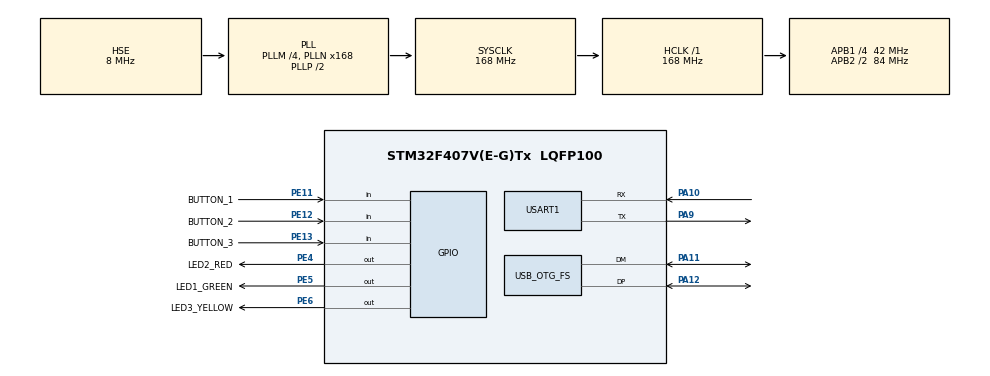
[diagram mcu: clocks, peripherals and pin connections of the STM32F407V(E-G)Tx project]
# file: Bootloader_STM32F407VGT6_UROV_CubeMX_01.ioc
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Mcu.Family=STM32F4
Mcu.Name=STM32F407V(E-G)Tx
Mcu.Package=LQFP100
NVIC.OTG_FS_IRQn=true\:0\:0\:false\:false\:true\:false\:true
NVIC.PriorityGroup=NVIC_PRIORITYGROUP_4
PA10.Mode=Asynchronous
PA10.Signal=USART1_RX
PA11.Mode=Host_Only
PA11.Signal=USB_OTG_FS_DM
PA12.Mode=Host_Only
PA12.Signal=USB_OTG_FS_DP
PA9.Mode=Asynchronous
PA9.Signal=USART1_TX
PE11.GPIO_Label=BUTTON_1
PE11.GPIO_PuPd=GPIO_PULLUP
PE11.Signal=GPIO_Input
PE12.GPIO_Label=BUTTON_2
PE12.GPIO_PuPd=GPIO_PULLUP
PE12.Signal=GPIO_Input
PE13.GPIO_Label=BUTTON_3
PE13.GPIO_PuPd=GPIO_PULLUP
PE13.Signal=GPIO_Input
PE4.GPIO_Label=LED2_RED
PE4.Signal=GPIO_Output
PE5.GPIO_Label=LED1_GREEN
PE5.Signal=GPIO_Output
PE6.GPIO_Label=LED3_YELLOW
PE6.Signal=GPIO_Output
PH0-OSC_IN.Mode=HSE-External-Oscillator
PH0-OSC_IN.Signal=RCC_OSC_IN
PH1-OSC_OUT.Mode=HSE-External-Oscillator
PH1-OSC_OUT.Signal=RCC_OSC_OUT
ProjectManager.HeapSize=0x400
ProjectManager.StackSize=0x400
ProjectManager.TargetToolchain=MDK-ARM V5.27
RCC.48MHZClocksFreq_Value=48000000
RCC.AHBFreq_Value=168000000
RCC.APB1CLKDivider=RCC_HCLK_DIV4
RCC.APB1Freq_Value=42000000
RCC.APB1TimFreq_Value=84000000
RCC.APB2CLKDivider=RCC_HCLK_DIV2
RCC.APB2Freq_Value=84000000
RCC.APB2TimFreq_Value=168000000
RCC.CortexFreq_Value=168000000
RCC.HCLKFreq_Value=168000000
RCC.HSE_VALUE=8000000
RCC.HSI_VALUE=16000000
RCC.LSE_VALUE=32768
RCC.PLLM=4
RCC.PLLN=168
RCC.PLLQ=7
RCC.SYSCLKFreq_VALUE=168000000
RCC.SYSCLKSource=RCC_SYSCLKSOURCE_PLLCLK
RCC.VCOOutputFreq_Value=336000000
USART1.VirtualMode=VM_ASYNC
USB_HOST.USBH_DEBUG_LEVEL-MSC_FS=2
USB_HOST.USBH_HandleTypeDef-MSC_FS=hUsbHostFS
USB_HOST.VirtualModeFS=Msc
USB_OTG_FS.VirtualMode=Host_Only
USB_OTG_FS.phy_itface=HCD_PHY_EMBEDDED
VP_FATFS_VS_USB.Mode=USB
VP_USB_HOST_VS_USB_HOST_MSC_FS.Mode=MSC_FS
board=custom

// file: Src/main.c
/* USER CODE BEGIN Header */
/**
  ******************************************************************************
  * @file           : main.c
  * @brief          : Main program body
  ******************************************************************************
  * @attention
  *
  * <h2><center>&copy; Copyright (c) 2020 STMicroelectronics.
  * All rights reserved.</center></h2>
  *
  * This software component is licensed by ST under Ultimate Liberty license
  * SLA0044, the "License"; You may not use this file except in compliance with
  * the License. You may obtain a copy of the License at:
  *                             www.st.com/SLA0044
  *
  ******************************************************************************
  */
/* USER CODE END Header */
#include "main.h"
#include "fatfs.h"
#include "usb_host.h"

/* USER CODE BEGIN Includes */

#include "stdint.h"   // устанавливает типы переменных типа int8_t и.т.д.
#include "string.h"   // Работа со строками
#include <stdlib.h>   // объявляет четыре типа, несколько функций общего назначения,и определяет несколько макросов.
#include <stdio.h>    // объявляет два типа, несколько макросов и множество функций для выполнение ввода и вывода.

/* USER CODE END Includes */

/* USER CODE BEGIN PTD */

/* Вывод строки в КОМ порт  */
	#ifdef __GNUC__
  /* With GCC, small printf (option LD Linker->Libraries->Small printf
     set to 'Yes') calls __io_putchar() */
  #define PUTCHAR_PROTOTYPE int __io_putchar(int ch)
#else
  #define PUTCHAR_PROTOTYPE int fputc(int ch, FILE *f)
#endif /* __GNUC__ */

/* USER CODE END PTD */

/* USER CODE BEGIN PM */

extern ApplicationTypeDef Appli_state;          // Переменная для определения состояния USB порта.
extern USBH_HandleTypeDef hUsbHostFS;
FATFS USBH_fatfs;
FIL MyFile; /* File object for upload operation */
FIL MyFileR;  /* File object for download operation */
extern DIR dir;
extern FILINFO fno;
char USBDISKPath[4];

#define DEMO_INIT       ((uint8_t)0x00)
#define DEMO_IAP        ((uint8_t)0x01)

__IO uint32_t UploadCondition = 0x00;

static uint8_t Demo_State = DEMO_INIT;
extern USBH_HandleTypeDef hUsbHostFS;

uint32_t JumpAddress;
pFunction Jump_To_Application;

static void COMMAND_ProgramFlashMemory(void);
static void IAP_UploadTimeout(void);
static void USBH_USR_BufferSizeControl(void);

/* USER CODE END PM */

UART_HandleTypeDef huart1;

/* USER CODE BEGIN PV */

#define BUFFER_SIZE        ((uint16_t)512*64)

#define UPLOAD_FILENAME      "0:UPLOAD_u.BIN"
static uint32_t TmpReadSize = 0x00;
static uint32_t RamAddress  = 0x00;
static __IO uint32_t LastPGAddress = APPLICATION_ADDRESS;
static uint8_t RAM_Buf[BUFFER_SIZE] = {0x00};
char DOWNLOAD_FILENAME[15];           // Переменная для хранения имени загружаемого bin файла

/* USER CODE END PV */

void SystemClock_Config(void);
static void MX_GPIO_Init(void);
static void MX_USART1_UART_Init(void);
void MX_USB_HOST_Process(void);

int main(void)
{
  /* USER CODE BEGIN 1 */

  FLASH_If_FlashUnlock();
	BSP_PB_Init(BUTTON_KEY1, BUTTON_MODE_GPIO);
	BSP_PB_Init(BUTTON_KEY2, BUTTON_MODE_GPIO);
	BSP_PB_Init(BUTTON_KEY3, BUTTON_MODE_GPIO);

	if (BSP_PB_GetState(BUTTON_KEY1) == GPIO_PIN_RESET)
	{
		sprintf(DOWNLOAD_FILENAME,"0:%s","image_u1.bin");
	}
	else if(BSP_PB_GetState(BUTTON_KEY2) == GPIO_PIN_RESET)
	{
		sprintf(DOWNLOAD_FILENAME,"0:%s","image_u2.bin");
	}
	else if(BSP_PB_GetState(BUTTON_KEY3) == GPIO_PIN_RESET)
	{
		sprintf(DOWNLOAD_FILENAME,"0:%s","image_u3.bin");
	}
	else
  {
    /* Check Vector Table: Test if user code is programmed starting from address
    "APPLICATION_ADDRESS" */
    if ((((*(__IO uint32_t*)APPLICATION_ADDRESS) & 0xFF000000 ) == 0x20000000) || \
      (((*(__IO uint32_t*)APPLICATION_ADDRESS) & 0xFF000000 ) == 0x10000000))
    {
      /* Jump to user application */
      JumpAddress = *(__IO uint32_t*) (APPLICATION_ADDRESS + 4);
      Jump_To_Application = (pFunction) JumpAddress;
      /* Initialize user application's Stack Pointer */
      __set_MSP(*(__IO uint32_t*) APPLICATION_ADDRESS);
      Jump_To_Application();
    }
  }

  /* USER CODE END 1 */

  /* MCU Configuration--------------------------------------------------------*/

  /* Reset of all peripherals, Initializes the Flash interface and the Systick. */
  HAL_Init();

  /* Configure the system clock */
  SystemClock_Config();

  /* Initialize all configured peripherals */
  MX_GPIO_Init();
  MX_USART1_UART_Init();
  MX_FATFS_Init();
  MX_USB_HOST_Init();
  /* USER CODE BEGIN 2 */

  printf("\n\r UART Printf Example: retarget the C library printf function to the UART\n\r");
	BSP_LED_Off(LED1);
	BSP_LED_Off(LED2);
	BSP_LED_Off(LED3);

  /* USER CODE END 2 */

  /* Infinite loop */
  while (1)
  {
    MX_USB_HOST_Process();

    /* USER CODE BEGIN 3 */
		FW_UPGRADE_Process();
  }
  /* USER CODE END 3 */
}

void SystemClock_Config(void)
{
  RCC_OscInitTypeDef RCC_OscInitStruct = {0};
  RCC_ClkInitTypeDef RCC_ClkInitStruct = {0};

  /** Configure the main internal regulator output voltage
  */
  __HAL_RCC_PWR_CLK_ENABLE();
  __HAL_PWR_VOLTAGESCALING_CONFIG(PWR_REGULATOR_VOLTAGE_SCALE1);
  /** Initializes the RCC Oscillators according to the specified parameters
  * in the RCC_OscInitTypeDef structure.
  */
  RCC_OscInitStruct.OscillatorType = RCC_OSCILLATORTYPE_HSE;
  RCC_OscInitStruct.HSEState = RCC_HSE_ON;
  RCC_OscInitStruct.PLL.PLLState = RCC_PLL_ON;
  RCC_OscInitStruct.PLL.PLLSource = RCC_PLLSOURCE_HSE;
  RCC_OscInitStruct.PLL.PLLM = 4;
  RCC_OscInitStruct.PLL.PLLN = 168;
  RCC_OscInitStruct.PLL.PLLP = RCC_PLLP_DIV2;
  RCC_OscInitStruct.PLL.PLLQ = 7;
  if (HAL_RCC_OscConfig(&RCC_OscInitStruct) != HAL_OK)
  {
    Error_Handler();
  }
  /** Initializes the CPU, AHB and APB buses clocks
  */
  RCC_ClkInitStruct.ClockType = RCC_CLOCKTYPE_HCLK|RCC_CLOCKTYPE_SYSCLK
                              |RCC_CLOCKTYPE_PCLK1|RCC_CLOCKTYPE_PCLK2;
  RCC_ClkInitStruct.SYSCLKSource = RCC_SYSCLKSOURCE_PLLCLK;
  RCC_ClkInitStruct.AHBCLKDivider = RCC_SYSCLK_DIV1;
  RCC_ClkInitStruct.APB1CLKDivider = RCC_HCLK_DIV4;
  RCC_ClkInitStruct.APB2CLKDivider = RCC_HCLK_DIV2;

  if (HAL_RCC_ClockConfig(&RCC_ClkInitStruct, FLASH_LATENCY_5) != HAL_OK)
  {
    Error_Handler();
  }
}

static void MX_USART1_UART_Init(void)
{

  huart1.Instance = USART1;
  huart1.Init.BaudRate = 115200;
  huart1.Init.WordLength = UART_WORDLENGTH_8B;
  huart1.Init.StopBits = UART_STOPBITS_1;
  huart1.Init.Parity = UART_PARITY_NONE;
  huart1.Init.Mode = UART_MODE_TX_RX;
  huart1.Init.HwFlowCtl = UART_HWCONTROL_NONE;
  huart1.Init.OverSampling = UART_OVERSAMPLING_16;
  if (HAL_UART_Init(&huart1) != HAL_OK)
  {
    Error_Handler();
  }

}

static void MX_GPIO_Init(void)
{
  GPIO_InitTypeDef GPIO_InitStruct = {0};

  /* GPIO Ports Clock Enable */
  __HAL_RCC_GPIOE_CLK_ENABLE();
  __HAL_RCC_GPIOH_CLK_ENABLE();
  __HAL_RCC_GPIOA_CLK_ENABLE();

  /*Configure GPIO pin Output Level */
  HAL_GPIO_WritePin(GPIOE, LED2_RED_Pin|LED1_GREEN_Pin|LED3_YELLOW_Pin, GPIO_PIN_RESET);

  /*Configure GPIO pins : LED2_RED_Pin LED1_GREEN_Pin LED3_YELLOW_Pin */
  GPIO_InitStruct.Pin = LED2_RED_Pin|LED1_GREEN_Pin|LED3_YELLOW_Pin;
  GPIO_InitStruct.Mode = GPIO_MODE_OUTPUT_PP;
  GPIO_InitStruct.Pull = GPIO_NOPULL;
  GPIO_InitStruct.Speed = GPIO_SPEED_FREQ_LOW;
  HAL_GPIO_Init(GPIOE, &GPIO_InitStruct);

  /*Configure GPIO pins : BUTTON_1_Pin BUTTON_2_Pin BUTTON_3_Pin */
  GPIO_InitStruct.Pin = BUTTON_1_Pin|BUTTON_2_Pin|BUTTON_3_Pin;
  GPIO_InitStruct.Mode = GPIO_MODE_INPUT;
  GPIO_InitStruct.Pull = GPIO_PULLUP;
  HAL_GPIO_Init(GPIOE, &GPIO_InitStruct);

}

/* USER CODE BEGIN 4 */
/* Вывод строки в КОМ порт  */
PUTCHAR_PROTOTYPE
{
  /* Place your implementation of fputc here */
  /* e.g. write a character to the EVAL_COM1 and Loop until the end of transmission */
  HAL_UART_Transmit(&huart1, (uint8_t *)&ch, 1, 0xFFFF);

  return ch;
}

void COMMAND_Upload(void)
{
  __IO uint32_t address = APPLICATION_ADDRESS;
  __IO uint32_t counterread = 0x00;
  uint32_t tmpcounter = 0x00, indexoffset = 0x00;
  FlagStatus readoutstatus = SET;
  uint16_t byteswritten;

  /* Get the read out protection status */
  readoutstatus = FLASH_If_ReadOutProtectionStatus();
  if(readoutstatus == RESET)
  {
    /* Remove UPLOAD file if it exists on flash disk */
    f_unlink(UPLOAD_FILENAME);

    /* Init written byte counter */
    indexoffset = (APPLICATION_ADDRESS - USER_FLASH_STARTADDRESS);

    /* Open binary file to write on it */
    if(( Appli_state == APPLICATION_READY) && (f_open(&MyFile, UPLOAD_FILENAME, FA_CREATE_ALWAYS | FA_WRITE) == FR_OK))
    {
      /* Upload On Going: Turn LED4 On and LED3 Off */
      BSP_LED_On(LED1);
      BSP_LED_Off(LED2);

      /* Read flash memory */
      while ((indexoffset < USER_FLASH_SIZE) && ( Appli_state == APPLICATION_READY))
      {
        for(counterread = 0; counterread < BUFFER_SIZE; counterread++)
        {
          /* Check the read bytes versus the end of flash */
          if(indexoffset + counterread < USER_FLASH_SIZE)
          {
            tmpcounter = counterread;
            RAM_Buf[tmpcounter] = (*(uint8_t*)(address++));
          }
          /* In this case all flash was read */
          else
          {
            break;
          }
        }

        /* Write buffer to file */
        f_write (&MyFile, RAM_Buf, BUFFER_SIZE, (void *)&byteswritten);

        /* Number of byte written  */
        indexoffset = indexoffset + counterread;
      }

      /* Turn LED1 On: Upload Done */
      BSP_LED_Off(LED2);
      BSP_LED_On(LED1);

      /* Close file and filesystem */
      f_close(&MyFile);
      f_mount(0, 0, 0);
    }
    /* Keep These LEDS OFF when Device connected */
    BSP_LED_Off(LED2);
    BSP_LED_Off(LED1);
  }
  else
  {
    /* Message ROP active: Turn LED2 On and Toggle LED3 in infinite loop */
    BSP_LED_On(LED2);
    Fail_Handler();
  }
}

/**
  * @brief  IAP Write Flash memory.
  * @param  None
  * @retval None
  */
void COMMAND_Download(void)
{

	if(f_mount(&USBH_fatfs,(TCHAR const*)USBDISKPath,0)==FR_OK)
	{
		printf("f_mount\r\n");
	 if(f_open(&MyFileR, DOWNLOAD_FILENAME, FA_READ) != FR_OK)
	 {
		 printf("Program flash memory not found \r\n");
		 FatFs_Fail_Handler();
	 }
	 else
	 {
			BSP_LED_Toggle(LED2);
			printf("Open the binary file\r\n");

		 if(f_size(&MyFileR) > USER_FLASH_SIZE)
			{
				/* No available Flash memory size for the binary file: Turn LED4 On and
					 Toggle LED3 in infinite loop */
				BSP_LED_On(LED2);
				Fail_Handler();
			}
			else
			{
				/* Download On Going: Turn LED4 On */
				BSP_LED_On(LED1);

				/* Erase FLASH sectors to download image */
				if(FLASH_If_EraseSectors(APPLICATION_ADDRESS) != 0x00)
				{
					/* Flash erase error: Turn LED4 On and Toggle LED2 and LED3 in
						 infinite loop */
					BSP_LED_Off(LED1);
					Erase_Fail_Handler();
				}
				printf("Program flash memory\r\n");
				BSP_LED_On(LED3);
				/* Program flash memory */
				COMMAND_ProgramFlashMemory();
				HAL_Delay(500);
				/* Download Done: Turn LED4 Off and LED2 On */
						 printf("Download Done\r\n");
				BSP_LED_Off(LED1);
				BSP_LED_On(LED2);
				BSP_LED_Off(LED3);

				/* Close file */
				FLASH_If_FlashLock();       // Блокирум флеш микроконтроллера
				f_close(&MyFileR);          // Закрываем файл с прошивкой
				printf("Close file\r\n");
			}
		}
  }
  else
  {
		printf("The f_mount falure\r\n");
    //Fail_Handler();
  }
}

/**
  * @brief  IAP jump to user program.
  * @param  None
  * @retval None
  */
void COMMAND_Jump(void)
{
  /* Software reset */
  NVIC_SystemReset();
}

/**
  * @brief  Programs the internal Flash memory.
  * @param  None
  * @retval None
  */
static void COMMAND_ProgramFlashMemory(void)
{
  uint32_t programcounter = 0x00;
  uint8_t readflag = TRUE;
  uint16_t bytesread;

  /* RAM Address Initialization */
  RamAddress = (uint32_t) &RAM_Buf;

  /* Erase address init */
  LastPGAddress = APPLICATION_ADDRESS;

  /* While file still contain data */
  while ((readflag == TRUE))
  {
    /* Read maximum 512 Kbyte from the selected file */
    f_read (&MyFileR, RAM_Buf, BUFFER_SIZE, (void *)&bytesread);

    /* Temp variable */
    TmpReadSize = bytesread;

    /* The read data < "BUFFER_SIZE" Kbyte */
    if(TmpReadSize < BUFFER_SIZE)
    {
      readflag = FALSE;
    }

   /* Program flash memory */
    for (programcounter = 0; programcounter < TmpReadSize; programcounter += 4)
    {
      /* Write word into flash memory */
      if (FLASH_If_Write((LastPGAddress + programcounter),
                         *(uint32_t *) (RamAddress + programcounter)) != 0x00)
      {
        /* Flash programming error: Turn LED2 On and Toggle LED3 in infinite
         * loop */
        BSP_LED_On(LED2);
        Fail_Handler();
      }
    }
    /* Update last programmed address value */
    LastPGAddress += TmpReadSize;
  }
}

void FW_UPGRADE_Process(void)
{

  switch(Demo_State)
  {
  case DEMO_INIT:
    /* Register the file system object to the FatFs module */
 	if (FATFS_LinkDriver(&USBH_Driver, USBDISKPath) == 0)
    {
      if (f_mount(&USBH_fatfs, "", 0) != FR_OK)
      {
        /* FatFs initialization fails */
        /* Toggle LED3 and LED4 in infinite loop */
        FatFs_Fail_Handler();
      }
    }

    /* Go to IAP menu */
    Demo_State = DEMO_IAP;
    break;

  case DEMO_IAP:
				BSP_LED_On(LED1);

    while(USBH_MSC_IsReady(&hUsbHostFS))
    {
      /* Control BUFFER_SIZE value */
      USBH_USR_BufferSizeControl();

      /* Keep LED1 and LED3 Off when Device connected */
      BSP_LED_Off(LED1);
      BSP_LED_Off(LED2);

      /* KEY Button pressed Delay */
      IAP_UploadTimeout();

      /* Writes Flash memory */
			printf("COMMAND_Download\n\r");
      COMMAND_Download();
      COMMAND_Jump();
      /* Check if KEY Button is already pressed */
      if((UploadCondition == 0x01))
      {
        /* Reads all flash memory */
				printf("COMMAND_Upload\n\r");
        COMMAND_Upload();
				printf("COMMAND_Upload  Ok!\n\r");
	    }
      else
      {
        /* Turn LED2 Off: Download Done */
        BSP_LED_Off(LED2);
        /* Turn LED1 On: Waiting KEY button pressed */
        BSP_LED_On(LED1);
      }

      /* Waiting KEY Button Released */
      while((BSP_PB_GetState(BUTTON_KEY1) == GPIO_PIN_RESET) && (Appli_state == APPLICATION_READY))
      {}

      /* Waiting KEY Button Pressed */
      while((BSP_PB_GetState(BUTTON_KEY1) != GPIO_PIN_RESET) && (Appli_state == APPLICATION_READY))
      {}

      /* Waiting KEY Button Released */
      while((BSP_PB_GetState(BUTTON_KEY1) == GPIO_PIN_RESET) && (Appli_state == APPLICATION_READY))
      {}

      if(Appli_state == APPLICATION_READY)
      {
        /* Jump to user application code located in the internal Flash memory */
        COMMAND_Jump();
      }
   // }
    break;

  default:
    break;
  }

 // FileRead();
  if(Appli_state == APPLICATION_DISCONNECT)
  {
    /* Toggle LED3: USB device disconnected */
    BSP_LED_Toggle(LED2);
    HAL_Delay(100);
  }
 }
}

static void IAP_UploadTimeout(void)
{
  /* Check if KEY button is pressed */
  if(BSP_PB_GetState(BUTTON_KEY1) == GPIO_PIN_RESET)
  {
    /* To execute the UPLOAD command the KEY button should be kept pressed 3s
       just after a board reset, at firmware startup */
    HAL_Delay (3000);

    if(BSP_PB_GetState(BUTTON_KEY1) == GPIO_PIN_RESET)
    {
      /* UPLOAD command will be executed immediately after
      completed execution of the DOWNLOAD command */

      UploadCondition = 0x01;

      /* Turn LED3 on : Upload condition Verified */
      BSP_LED_On(LED2);
    }
    else
    {
      /* Only the DOWNLOAD command is executed */
      UploadCondition = 0x00;
    }
  }
}

void Fail_Handler(void)
{
  while(1)
  {
    /* Toggle LED3 */
    BSP_LED_Toggle(LED2);
    HAL_Delay(100);
  }
}

/**
  * @brief  Handles the Flash Erase fail.
  * @param  None
  * @retval None
  */
void Erase_Fail_Handler(void)
{
  while(1)
  {
    /* Toggle LED2 and LED3 */
    BSP_LED_Toggle(LED2);
    BSP_LED_Toggle(LED1);
    HAL_Delay(100);
  }
}

/**
  * @brief  Handles the FatFs fail.
  * @param  None
  * @retval None
  */
void FatFs_Fail_Handler(void)
{
  while(1)
  {
    /* Toggle LED3 and LED4 */
    BSP_LED_Toggle(LED1);
    BSP_LED_Toggle(LED2);
		BSP_LED_Toggle(LED3);
    HAL_Delay(300);
  }
}

/**
  * @brief  Controls Buffer size value.
  * @param  None
  * @retval None
  */
static void USBH_USR_BufferSizeControl(void)
{
  /* Control BUFFER_SIZE and limit this value to 32Kbyte maximum */
  if((BUFFER_SIZE % 4 != 0x00) || (BUFFER_SIZE / 4 > 8192))
  {
    while(1)
    {
      /* Toggle LED2, LED3 and LED4 */
      BSP_LED_Toggle(LED2);
      BSP_LED_Toggle(LED1);
      HAL_Delay(100);
    }
  }
}

/* USER CODE END 4 */

void Error_Handler(void)
{
}

/************************ (C) COPYRIGHT STMicroelectronics *****END OF FILE****/
